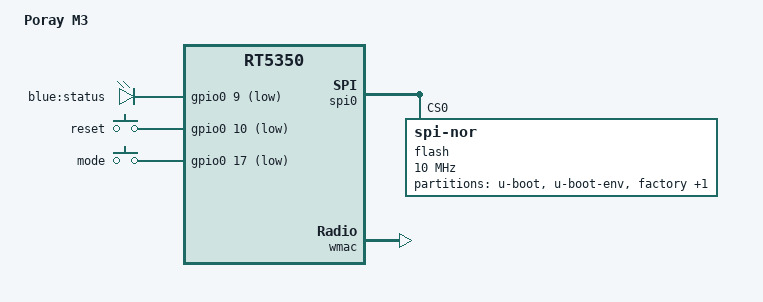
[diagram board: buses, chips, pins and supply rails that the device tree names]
#include "rt5350.dtsi"

#include <dt-bindings/gpio/gpio.h>
#include <dt-bindings/input/input.h>

/ {
	compatible = "poray,m3", "ralink,rt5350-soc";
	model = "Poray M3";

	aliases {
		led-boot = &led_status;
		led-failsafe = &led_status;
		led-running = &led_status;
		led-upgrade = &led_status;
	};

	leds {
		compatible = "gpio-leds";

		led_status: status {
			label = "blue:status";
			gpios = <&gpio0 9 GPIO_ACTIVE_LOW>;
		};
	};

	keys {
		compatible = "gpio-keys-polled";
		poll-interval = <20>;

		reset {
			label = "reset";
			gpios = <&gpio0 10 GPIO_ACTIVE_LOW>;
			linux,code = <KEY_RESTART>;
		};

		mode {
			label = "mode";
			gpios = <&gpio0 17 GPIO_ACTIVE_LOW>;
			linux,code = <BTN_0>;
			linux,input-type = <EV_SW>;
		};
	};
};

&spi0 {
	status = "okay";

	flash@0 {
		compatible = "jedec,spi-nor";
		reg = <0>;
		spi-max-frequency = <10000000>;

		partitions {
			compatible = "fixed-partitions";
			#address-cells = <1>;
			#size-cells = <1>;

			partition@0 {
				label = "u-boot";
				reg = <0x0 0x30000>;
				read-only;
			};

			partition@30000 {
				label = "u-boot-env";
				reg = <0x30000 0x10000>;
				read-only;
			};

			factory: partition@40000 {
				label = "factory";
				reg = <0x40000 0x10000>;
				read-only;
			};

			partition@50000 {
				compatible = "denx,uimage";
				label = "firmware";
				reg = <0x50000 0x3b0000>;
			};
		};
	};
};

&state_default {
	gpio {
		groups = "i2c", "jtag", "uartf";
		function = "gpio";
	};
};

&ethernet {
	mtd-mac-address = <&factory 0x4>;
};

&esw {
	mediatek,portmap = <0x2f>;
	mediatek,led_polarity = <1>;
};

&wmac {
	ralink,mtd-eeprom = <&factory 0x0>;
	ralink,led-polarity = <1>;
};
